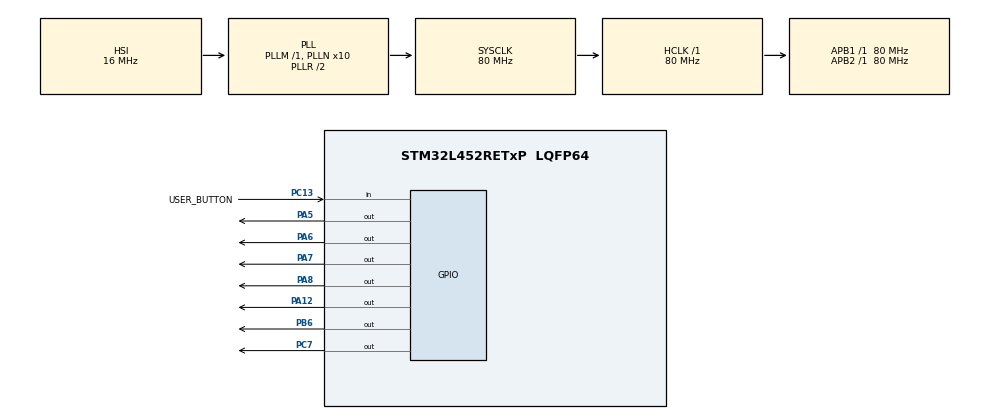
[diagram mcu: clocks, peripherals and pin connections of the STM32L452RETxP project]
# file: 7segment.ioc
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Mcu.Family=STM32L4
Mcu.Name=STM32L452RETxP
Mcu.Package=LQFP64
NVIC.PriorityGroup=NVIC_PRIORITYGROUP_4
PA12.Signal=GPIO_Output
PA13\ (JTMS/SWDIO).Mode=Serial_Wire
PA13\ (JTMS/SWDIO).Signal=SYS_JTMS-SWDIO
PA14\ (JTCK/SWCLK).Mode=Serial_Wire
PA14\ (JTCK/SWCLK).Signal=SYS_JTCK-SWCLK
PA5.Signal=GPIO_Output
PA6.Signal=GPIO_Output
PA7.Signal=GPIO_Output
PA8.Signal=GPIO_Output
PB6.Signal=GPIO_Output
PC13.GPIO_Label=USER_BUTTON
PC13.Signal=GPIO_Input
PC7.Signal=GPIO_Output
ProjectManager.HeapSize=0x200
ProjectManager.StackSize=0x400
ProjectManager.TargetToolchain=STM32CubeIDE
RCC.ADCFreq_Value=64000000
RCC.AHBFreq_Value=80000000
RCC.APB1Freq_Value=80000000
RCC.APB1TimFreq_Value=80000000
RCC.APB2Freq_Value=80000000
RCC.APB2TimFreq_Value=80000000
RCC.CortexFreq_Value=80000000
RCC.HCLKFreq_Value=80000000
RCC.HSE_VALUE=8000000
RCC.HSI48_VALUE=48000000
RCC.HSI_VALUE=16000000
RCC.LSE_VALUE=32768
RCC.MSI_VALUE=4000000
RCC.PLLN=10
RCC.PLLSourceVirtual=RCC_PLLSOURCE_HSI
RCC.PREFETCH_ENABLE=1
RCC.SYSCLKFreq_VALUE=80000000
RCC.SYSCLKSource=RCC_SYSCLKSOURCE_PLLCLK
RCC.USBFreq_Value=64000000
RCC.VCOOutputFreq_Value=160000000
board=NUCLEO-L452RE-P

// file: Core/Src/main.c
/* USER CODE BEGIN Header */
/**
  ******************************************************************************
  * @file           : main.c
  * @brief          : Main program body
  ******************************************************************************
  * @attention
  *
  * Copyright (c) 2024 STMicroelectronics.
  * All rights reserved.
  *
  * This software is licensed under terms that can be found in the LICENSE file
  * in the root directory of this software component.
  * If no LICENSE file comes with this software, it is provided AS-IS.
  *
  ******************************************************************************
  */
/* USER CODE END Header */
#include "main.h"

/* USER CODE BEGIN PV */
uint8_t buttonState = 0;
uint8_t number = 0;
/* USER CODE END PV */

void SystemClock_Config(void);
static void MX_GPIO_Init(void);

/* USER CODE BEGIN 0 */
// Segment numbers stored in the array
uint8_t segmentNumber[10] = {
        0x3f,  // 0
        0x06,  // 1
        0x5b,  // 2
        0x4f,  // 3
        0x66,  // 4
        0x6d,  // 5
        0x7d,  // 6
        0x07,  // 7
        0x7f,  // 8
        0x67   // 9
};

// Implement button functionality
void HAL_GPIO_EXTI_Falling_Callback(uint16_t GPIO_Pin)
{
  /* Prevent unused argument(s) compilation warning */
  UNUSED(GPIO_Pin);

  /* NOTE: This function should not be modified, when the callback is needed,
           the HAL_GPIO_EXTI_Falling_Callback could be implemented in the user file
   */
  if ( GPIO_Pin == USER_BUTTON_Pin) {
	buttonState = 1;
  }
}

void SevenSegment_Update(uint8_t number){
	HAL_GPIO_WritePin(GPIOA, GPIO_PIN_8, ((number>>0)&0x01));
	HAL_GPIO_WritePin(GPIOA, GPIO_PIN_5, ((number>>1)&0x01));
	HAL_GPIO_WritePin(GPIOA, GPIO_PIN_6, ((number>>2)&0x01));
	HAL_GPIO_WritePin(GPIOA, GPIO_PIN_7, ((number>>3)&0x01));
	HAL_GPIO_WritePin(GPIOB, GPIO_PIN_6, ((number>>4)&0x01));
	HAL_GPIO_WritePin(GPIOC, GPIO_PIN_7, ((number>>5)&0x01));
	HAL_GPIO_WritePin(GPIOA, GPIO_PIN_12, ((number>>6)&0x01));
}
/* USER CODE END 0 */

int main(void)
{

  /* MCU Configuration--------------------------------------------------------*/

  /* Reset of all peripherals, Initializes the Flash interface and the Systick. */
  HAL_Init();

  /* Configure the system clock */
  SystemClock_Config();

  /* Initialize all configured peripherals */
  MX_GPIO_Init();

  /* Infinite loop */
  while (1)
  {

    /* USER CODE BEGIN 3 */
	  if ( buttonState == 1) {
			  if (number == 9) {
				number = 0;
			} else {
				number++;
			}
			buttonState = 0;
		} else if (number == 0) {
			number = 9;
		} else {
			number--;
		}

		  SevenSegment_Update(segmentNumber[number]);
		  HAL_Delay(1000);
	  }

  /* USER CODE END 3 */
}

void SystemClock_Config(void)
{
  RCC_OscInitTypeDef RCC_OscInitStruct = {0};
  RCC_ClkInitTypeDef RCC_ClkInitStruct = {0};

  /** Configure the main internal regulator output voltage
  */
  if (HAL_PWREx_ControlVoltageScaling(PWR_REGULATOR_VOLTAGE_SCALE1) != HAL_OK)
  {
    Error_Handler();
  }

  /** Initializes the RCC Oscillators according to the specified parameters
  * in the RCC_OscInitTypeDef structure.
  */
  RCC_OscInitStruct.OscillatorType = RCC_OSCILLATORTYPE_HSI;
  RCC_OscInitStruct.HSIState = RCC_HSI_ON;
  RCC_OscInitStruct.HSICalibrationValue = 64;
  RCC_OscInitStruct.PLL.PLLState = RCC_PLL_ON;
  RCC_OscInitStruct.PLL.PLLSource = RCC_PLLSOURCE_HSI;
  RCC_OscInitStruct.PLL.PLLM = 1;
  RCC_OscInitStruct.PLL.PLLN = 10;
  RCC_OscInitStruct.PLL.PLLP = RCC_PLLP_DIV7;
  RCC_OscInitStruct.PLL.PLLQ = RCC_PLLQ_DIV2;
  RCC_OscInitStruct.PLL.PLLR = RCC_PLLR_DIV2;
  if (HAL_RCC_OscConfig(&RCC_OscInitStruct) != HAL_OK)
  {
    Error_Handler();
  }

  /** Initializes the CPU, AHB and APB buses clocks
  */
  RCC_ClkInitStruct.ClockType = RCC_CLOCKTYPE_HCLK|RCC_CLOCKTYPE_SYSCLK
                              |RCC_CLOCKTYPE_PCLK1|RCC_CLOCKTYPE_PCLK2;
  RCC_ClkInitStruct.SYSCLKSource = RCC_SYSCLKSOURCE_PLLCLK;
  RCC_ClkInitStruct.AHBCLKDivider = RCC_SYSCLK_DIV1;
  RCC_ClkInitStruct.APB1CLKDivider = RCC_HCLK_DIV1;
  RCC_ClkInitStruct.APB2CLKDivider = RCC_HCLK_DIV1;

  if (HAL_RCC_ClockConfig(&RCC_ClkInitStruct, FLASH_LATENCY_4) != HAL_OK)
  {
    Error_Handler();
  }
}

static void MX_GPIO_Init(void)
{
  GPIO_InitTypeDef GPIO_InitStruct = {0};

  /* GPIO Ports Clock Enable */
  __HAL_RCC_GPIOC_CLK_ENABLE();
  __HAL_RCC_GPIOA_CLK_ENABLE();
  __HAL_RCC_GPIOB_CLK_ENABLE();

  /*Configure GPIO pin Output Level */
  HAL_GPIO_WritePin(GPIOA, GPIO_PIN_5|GPIO_PIN_6|GPIO_PIN_7|GPIO_PIN_8
                          |GPIO_PIN_12, GPIO_PIN_RESET);

  /*Configure GPIO pin Output Level */
  HAL_GPIO_WritePin(GPIOC, GPIO_PIN_7, GPIO_PIN_RESET);

  /*Configure GPIO pin Output Level */
  HAL_GPIO_WritePin(GPIOB, GPIO_PIN_6, GPIO_PIN_RESET);

  /*Configure GPIO pin : USER_BUTTON_Pin */
  GPIO_InitStruct.Pin = USER_BUTTON_Pin;
  GPIO_InitStruct.Mode = GPIO_MODE_INPUT;
  GPIO_InitStruct.Pull = GPIO_NOPULL;
  HAL_GPIO_Init(USER_BUTTON_GPIO_Port, &GPIO_InitStruct);

  /*Configure GPIO pins : PA5 PA6 PA7 PA8
                           PA12 */
  GPIO_InitStruct.Pin = GPIO_PIN_5|GPIO_PIN_6|GPIO_PIN_7|GPIO_PIN_8
                          |GPIO_PIN_12;
  GPIO_InitStruct.Mode = GPIO_MODE_OUTPUT_PP;
  GPIO_InitStruct.Pull = GPIO_NOPULL;
  GPIO_InitStruct.Speed = GPIO_SPEED_FREQ_LOW;
  HAL_GPIO_Init(GPIOA, &GPIO_InitStruct);

  /*Configure GPIO pin : PC7 */
  GPIO_InitStruct.Pin = GPIO_PIN_7;
  GPIO_InitStruct.Mode = GPIO_MODE_OUTPUT_PP;
  GPIO_InitStruct.Pull = GPIO_NOPULL;
  GPIO_InitStruct.Speed = GPIO_SPEED_FREQ_LOW;
  HAL_GPIO_Init(GPIOC, &GPIO_InitStruct);

  /*Configure GPIO pin : PB6 */
  GPIO_InitStruct.Pin = GPIO_PIN_6;
  GPIO_InitStruct.Mode = GPIO_MODE_OUTPUT_PP;
  GPIO_InitStruct.Pull = GPIO_NOPULL;
  GPIO_InitStruct.Speed = GPIO_SPEED_FREQ_LOW;
  HAL_GPIO_Init(GPIOB, &GPIO_InitStruct);

}

void Error_Handler(void)
{
  __disable_irq();
  while (1)
  {
  }
}
